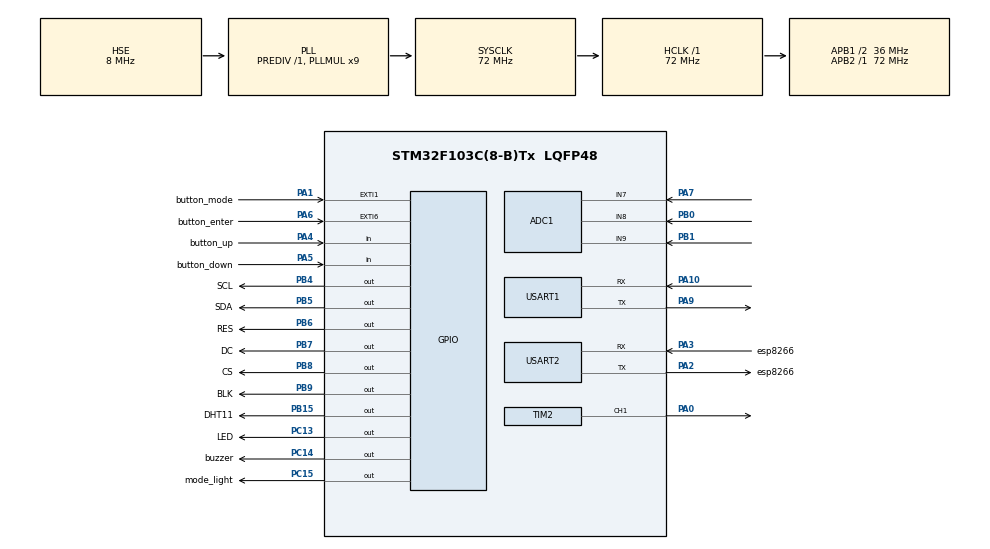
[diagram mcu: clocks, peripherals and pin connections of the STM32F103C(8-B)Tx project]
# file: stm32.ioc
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ADC1.Channel-0\#ChannelRegularConversion=ADC_CHANNEL_8
ADC1.Channel-1\#ChannelRegularConversion=ADC_CHANNEL_9
ADC1.Channel-2\#ChannelRegularConversion=ADC_CHANNEL_7
ADC1.ContinuousConvMode=DISABLE
ADC1.DataAlign=ADC_DATAALIGN_RIGHT
ADC1.DiscontinuousConvMode=ENABLE
ADC1.NbrOfConversion=3
ADC1.NbrOfConversionFlag=1
ADC1.Rank-0\#ChannelRegularConversion=1
ADC1.Rank-1\#ChannelRegularConversion=2
ADC1.Rank-2\#ChannelRegularConversion=3
ADC1.SamplingTime-0\#ChannelRegularConversion=ADC_SAMPLETIME_1CYCLE_5
ADC1.SamplingTime-1\#ChannelRegularConversion=ADC_SAMPLETIME_1CYCLE_5
ADC1.SamplingTime-2\#ChannelRegularConversion=ADC_SAMPLETIME_1CYCLE_5
ADC1.master=1
Mcu.Family=STM32F1
Mcu.Name=STM32F103C(8-B)Tx
Mcu.Package=LQFP48
NVIC.EXTI1_IRQn=true\:10\:0\:true\:false\:true\:true\:true\:true
NVIC.EXTI9_5_IRQn=true\:10\:0\:true\:false\:true\:true\:true\:true
NVIC.PriorityGroup=NVIC_PRIORITYGROUP_4
NVIC.TIM2_IRQn=true\:0\:0\:true\:false\:true\:true\:true\:true
NVIC.USART2_IRQn=true\:0\:0\:false\:false\:true\:true\:true\:true
PA0-WKUP.Signal=S_TIM2_CH1_ETR
PA1.GPIO_Label=button_mode
PA1.GPIO_ModeDefaultEXTI=GPIO_MODE_IT_FALLING
PA1.GPIO_PuPd=GPIO_PULLUP
PA1.Signal=GPXTI1
PA10.Mode=Asynchronous
PA10.Signal=USART1_RX
PA13.Mode=Serial_Wire
PA13.Signal=SYS_JTMS-SWDIO
PA14.Mode=Serial_Wire
PA14.Signal=SYS_JTCK-SWCLK
PA2.GPIO_Label=esp8266
PA2.Mode=Asynchronous
PA2.Signal=USART2_TX
PA3.GPIO_Label=esp8266
PA3.Mode=Asynchronous
PA3.Signal=USART2_RX
PA4.GPIO_Label=button_up
PA4.GPIO_PuPd=GPIO_PULLUP
PA4.Signal=GPIO_Input
PA5.GPIO_Label=button_down
PA5.GPIO_PuPd=GPIO_PULLUP
PA5.Signal=GPIO_Input
PA6.GPIO_Label=button_enter
PA6.GPIO_ModeDefaultEXTI=GPIO_MODE_IT_FALLING
PA6.GPIO_PuPd=GPIO_PULLUP
PA6.Signal=GPXTI6
PA7.GPIO_Label=sy01\u566A\u97F3
PA7.Signal=ADCx_IN7
PA9.Mode=Asynchronous
PA9.Signal=USART1_TX
PB0.GPIO_Label=a5516\u5149\u7167
PB0.Signal=ADCx_IN8
PB1.GPIO_Label=mq2\u6C14\u4F53
PB1.Signal=ADCx_IN9
PB15.GPIO_Label=DHT11
PB15.Signal=GPIO_Output
PB4.GPIO_Label=SCL
PB4.Signal=GPIO_Output
PB5.GPIO_Label=SDA
PB5.Signal=GPIO_Output
PB6.GPIO_Label=RES
PB6.Signal=GPIO_Output
PB7.GPIO_Label=DC
PB7.Signal=GPIO_Output
PB8.GPIO_Label=CS
PB8.Signal=GPIO_Output
PB9.GPIO_Label=BLK
PB9.Signal=GPIO_Output
PC13-TAMPER-RTC.GPIO_Label=LED
PC13-TAMPER-RTC.GPIO_PuPd=GPIO_PULLUP
PC13-TAMPER-RTC.PinState=GPIO_PIN_SET
PC13-TAMPER-RTC.Signal=GPIO_Output
PC14-OSC32_IN.GPIO_Label=buzzer
PC14-OSC32_IN.PinState=GPIO_PIN_SET
PC14-OSC32_IN.Signal=GPIO_Output
PC15-OSC32_OUT.GPIO_Label=mode_light
PC15-OSC32_OUT.GPIO_PuPd=GPIO_PULLUP
PC15-OSC32_OUT.PinState=GPIO_PIN_SET
PC15-OSC32_OUT.Signal=GPIO_Output
PD0-OSC_IN.Mode=HSE-External-Oscillator
PD0-OSC_IN.Signal=RCC_OSC_IN
PD1-OSC_OUT.Mode=HSE-External-Oscillator
PD1-OSC_OUT.Signal=RCC_OSC_OUT
ProjectManager.HeapSize=0x200
ProjectManager.StackSize=0x400
ProjectManager.TargetToolchain=MDK-ARM V5.32
RCC.ADCPresc=RCC_ADCPCLK2_DIV6
RCC.AHBFreq_Value=72000000
RCC.APB1CLKDivider=RCC_HCLK_DIV2
RCC.APB1Freq_Value=36000000
RCC.APB1TimFreq_Value=72000000
RCC.APB2Freq_Value=72000000
RCC.APB2TimFreq_Value=72000000
RCC.HCLKFreq_Value=72000000
RCC.PLLMUL=RCC_PLL_MUL9
RCC.PLLSourceVirtual=RCC_PLLSOURCE_HSE
RCC.SYSCLKFreq_VALUE=72000000
RCC.SYSCLKSource=RCC_SYSCLKSOURCE_PLLCLK
RCC.USBFreq_Value=72000000
SH.ADCx_IN7.0=ADC1_IN7,IN7
SH.ADCx_IN8.0=ADC1_IN8,IN8
SH.ADCx_IN9.0=ADC1_IN9,IN9
SH.S_TIM2_CH1_ETR.0=TIM2_CH1,PWM Generation1 CH1
TIM2.AutoReloadPreload=TIM_AUTORELOAD_PRELOAD_ENABLE
TIM2.Channel-PWM\ Generation1\ CH1=TIM_CHANNEL_1
TIM2.Period=2000
TIM2.Prescaler=720-1
TIM2.Pulse-PWM\ Generation1\ CH1=1000-1
USART1.VirtualMode=VM_ASYNC
USART2.VirtualMode=VM_ASYNC
VP_TIM2_VS_ClockSourceINT.Mode=Internal
board=custom

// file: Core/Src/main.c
/* USER CODE BEGIN Header */
/**
  ******************************************************************************
  * @file           : main.c
  * @brief          : Main program body
  ******************************************************************************
  * @attention
  *
  * Copyright (c) 2023 STMicroelectronics.
  * All rights reserved.
  *
  * This software is licensed under terms that can be found in the LICENSE file
  * in the root directory of this software component.
  * If no LICENSE file comes with this software, it is provided AS-IS.
  *
  ******************************************************************************
  */
/* USER CODE END Header */
#include "main.h"
#include "adc.h"
#include "tim.h"
#include "usart.h"
#include "gpio.h"

/* USER CODE BEGIN Includes */
#include "main_program.h"
#include "button.h"
#include "delay.h"
#include "led.h"
#include "lcd.h"
#include "lcd_init.h"
/* USER CODE END Includes */

/* USER CODE BEGIN PV */
extern uint8_t button_mode;
extern uint8_t currentmode;

/* USER CODE END PV */

void SystemClock_Config(void);

int main(void)
{
  /* USER CODE BEGIN 1 */
uint16_t Distance=0;
  /* USER CODE END 1 */

  /* MCU Configuration--------------------------------------------------------*/

  /* Reset of all peripherals, Initializes the Flash interface and the Systick. */
  HAL_Init();

  /* Configure the system clock */
  SystemClock_Config();

  /* Initialize all configured peripherals */
  MX_GPIO_Init();
  MX_TIM2_Init();
  MX_USART1_UART_Init();
  MX_USART2_UART_Init();
  MX_ADC1_Init();
  /* USER CODE BEGIN 2 */

	user_init_program();

  /* USER CODE END 2 */

  /* Infinite loop */
  /* USER CODE BEGIN WHILE */

	LCD_Init();//LCD初始化
	LCD_Fill(0,0,LCD_W,LCD_H,WHITE);
	while (1)
  {
    /* USER CODE END WHILE */

    /* USER CODE BEGIN 3 */
		//---------------------------------------------------------------------------------------主函数启动
		if(button_mode == 1)
			{
					button_mode = 0; // 清除按键按下标志
          currentmode ^= 1;		//切换模式
           if (currentmode == 1)
             {
							 mode_light_on ();
               main_auto();
							 LCD_Fill(0,0,LCD_W,LCD_H,WHITE);
             }
           else // MANUAL_MODE
             {
							 mode_light_off ();
               main_manual();
							 LCD_Fill(0,0,LCD_W,LCD_H,WHITE);
             }

						 button_mode = 0; // 清除按键按下标志
			}

// 根据当前模式运行相应的程序
      if (currentmode == 1)
      {
          main_auto();
      }
      else // MANUAL_MODE
      {
          main_manual();
      }
  }

  /* USER CODE END 3 */
}

void SystemClock_Config(void)
{
  RCC_OscInitTypeDef RCC_OscInitStruct = {0};
  RCC_ClkInitTypeDef RCC_ClkInitStruct = {0};
  RCC_PeriphCLKInitTypeDef PeriphClkInit = {0};

  /** Initializes the RCC Oscillators according to the specified parameters
  * in the RCC_OscInitTypeDef structure.
  */
  RCC_OscInitStruct.OscillatorType = RCC_OSCILLATORTYPE_HSE;
  RCC_OscInitStruct.HSEState = RCC_HSE_ON;
  RCC_OscInitStruct.HSEPredivValue = RCC_HSE_PREDIV_DIV1;
  RCC_OscInitStruct.HSIState = RCC_HSI_ON;
  RCC_OscInitStruct.PLL.PLLState = RCC_PLL_ON;
  RCC_OscInitStruct.PLL.PLLSource = RCC_PLLSOURCE_HSE;
  RCC_OscInitStruct.PLL.PLLMUL = RCC_PLL_MUL9;
  if (HAL_RCC_OscConfig(&RCC_OscInitStruct) != HAL_OK)
  {
    Error_Handler();
  }

  /** Initializes the CPU, AHB and APB buses clocks
  */
  RCC_ClkInitStruct.ClockType = RCC_CLOCKTYPE_HCLK|RCC_CLOCKTYPE_SYSCLK
                              |RCC_CLOCKTYPE_PCLK1|RCC_CLOCKTYPE_PCLK2;
  RCC_ClkInitStruct.SYSCLKSource = RCC_SYSCLKSOURCE_PLLCLK;
  RCC_ClkInitStruct.AHBCLKDivider = RCC_SYSCLK_DIV1;
  RCC_ClkInitStruct.APB1CLKDivider = RCC_HCLK_DIV2;
  RCC_ClkInitStruct.APB2CLKDivider = RCC_HCLK_DIV1;

  if (HAL_RCC_ClockConfig(&RCC_ClkInitStruct, FLASH_LATENCY_2) != HAL_OK)
  {
    Error_Handler();
  }
  PeriphClkInit.PeriphClockSelection = RCC_PERIPHCLK_ADC;
  PeriphClkInit.AdcClockSelection = RCC_ADCPCLK2_DIV6;
  if (HAL_RCCEx_PeriphCLKConfig(&PeriphClkInit) != HAL_OK)
  {
    Error_Handler();
  }
}

/* USER CODE BEGIN 4 */
//		void HAL_GPIO_EXTI_Callback(uint16_t GPIO_Pin)
//		{
//			if(GPIO_Pin == GPIO_PIN_1)
//			{
//				HAL_GPIO_TogglePin (GPIOC,GPIO_PIN_14);
//				HAL_Delay (200);
//			}
//		}

/* USER CODE END 4 */

void Error_Handler(void)
{
  __disable_irq();
  while (1)
  {
  }
}
